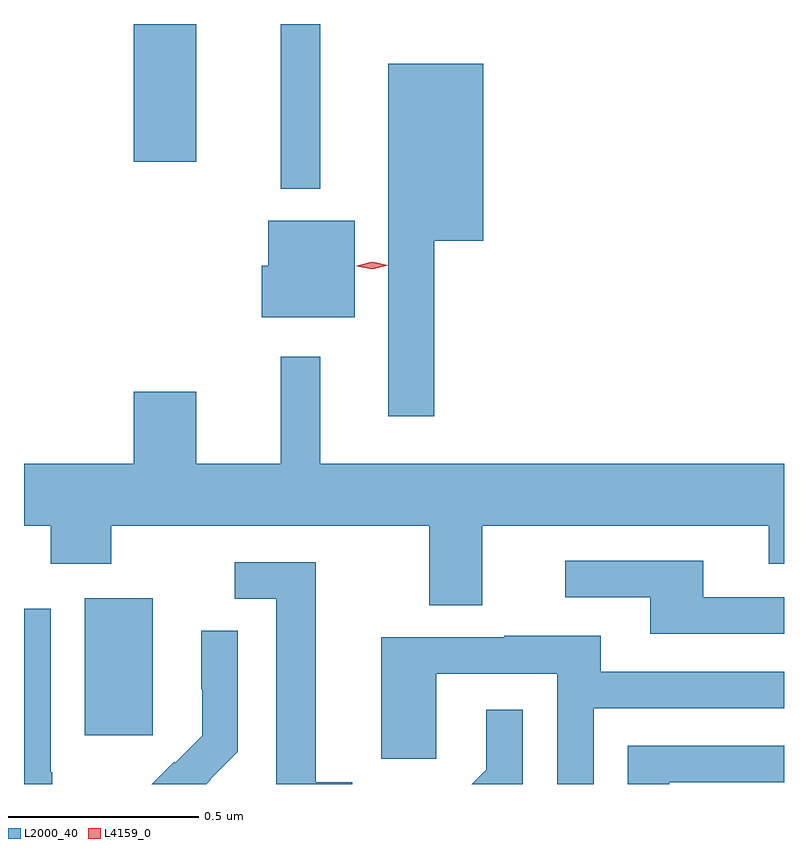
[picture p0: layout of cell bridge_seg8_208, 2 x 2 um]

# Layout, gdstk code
import gdstk
lib = gdstk.Library(unit=1e-6, precision=1e-09)
def R(c, l, rs):  # rectangles x0, y0, x1, y1
    for r in rs: c.add(gdstk.rectangle(r[:2], r[2:], *l))
def P(c, l, *ps):  # polygons
    for p in ps: c.add(gdstk.Polygon(p, *l))
L2000_40 = (2000, 40)
L4159_0 = (4159, 0)

bridge_seg8_208 = lib.new_cell('bridge_seg8_208')
R(bridge_seg8_208, L2000_40, [(200.843,1095.969,201.022,1096.33), (201.359,1097.408,201.463,1097.841), (200.972,1097.478,201.136,1097.841)])
P(bridge_seg8_208, L2000_40, [(201.763,1097.27),(201.892,1097.27),(201.892,1097.737),(201.641,1097.737),(201.641,1096.809),(201.763,1096.809)],
  [(201.553,1097.323),(201.326,1097.323),(201.326,1097.205),(201.308,1097.205),(201.308,1097.069),(201.553,1097.069)],
  [(201.889,1096.52),(202.643,1096.52),(202.643,1096.421),(202.683,1096.421),(202.683,1096.684),(201.463,1096.684),(201.463,1096.966),(201.359,1096.966),(201.359,1096.684),(201.136,1096.684),(201.136,1096.873),(200.972,1096.873),(200.972,1096.684),(200.683,1096.684),(200.683,1096.52),(200.753,1096.52),(200.753,1096.421),(200.913,1096.421),(200.913,1096.52),(201.749,1096.52),(201.749,1096.312),(201.889,1096.312)],
  [(202.683,1096.332),(202.471,1096.332),(202.471,1096.428),(202.107,1096.428),(202.107,1096.332),(202.331,1096.332),(202.331,1096.236),(202.683,1096.236)],
  [(201.547,1095.845),(201.451,1095.845),(201.451,1096.425),(201.237,1096.425),(201.237,1096.329),(201.347,1096.329),(201.347,1095.841),(201.547,1095.841)],
  [(200.757,1095.872),(200.754,1095.872),(200.754,1096.302),(200.683,1096.302),(200.683,1095.841),(200.757,1095.841)],
  [(201.174,1095.852),(201.173,1095.853),(201.246,1095.926),(201.246,1096.244),(201.15,1096.244),(201.15,1096.09),(201.152,1096.09),(201.152,1095.968),(201.081,1095.897),(201.078,1095.9),(201.019,1095.841),(201.163,1095.841)],
  [(202.182,1096.041),(202.683,1096.041),(202.683,1096.137),(202.201,1096.137),(202.201,1096.231),(201.947,1096.231),(201.947,1096.227),(201.623,1096.227),(201.623,1095.907),(201.768,1095.907),(201.768,1096.131),(202.086,1096.131),(202.086,1095.841),(202.182,1095.841)],
  [(201.996,1095.842),(201.996,1096.036),(201.899,1096.036),(201.899,1095.879),(201.861,1095.841),(201.995,1095.841)],
  [(202.381,1095.846),(202.683,1095.846),(202.683,1095.942),(202.272,1095.942),(202.272,1095.841),(202.381,1095.841)])
P(bridge_seg8_208, L4159_0, [(201.6,1097.195),(201.559,1097.204),(201.559,1097.204),(201.559,1097.205),(201.6,1097.215),(201.641,1097.206),(201.641,1097.206),(201.641,1097.206)])

lib.write_gds('bridge_seg8_208.gds')
